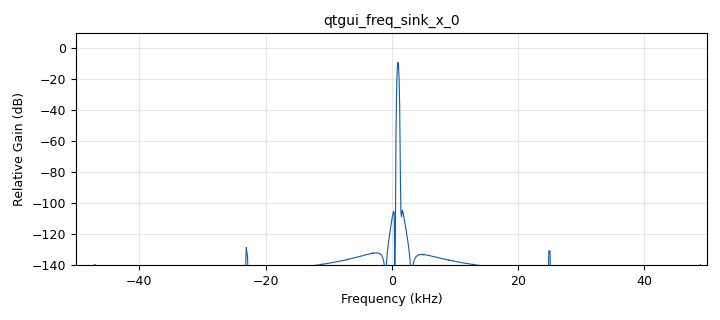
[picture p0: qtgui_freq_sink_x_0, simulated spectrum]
options:
  parameters:
    author: sten
    generate_options: qt_gui
    id: Labo_3
    output_language: python
    title: Aliasing & Oversampling
  states: {}

blocks:
- name: frequentie
  id: variable_qtgui_range
  parameters:
    start: 1e3
    step: 1e3
    stop: 300e3
    value: 1e3
  states: {}
- name: samp_rate
  id: variable
  parameters:
    value: '100000'
  states: {}
- name: analog_sig_source_x_0
  id: analog_sig_source_x
  parameters:
    amp: '1'
    freq: frequentie
    offset: '0'
    phase: '0'
    samp_rate: samp_rate
    type: complex
    waveform: analog.GR_COS_WAVE
  states: {}
- name: blocks_throttle_0
  id: blocks_throttle
  parameters:
    samples_per_second: samp_rate
    type: complex
  states: {}
- name: qtgui_freq_sink_x_0
  id: qtgui_freq_sink_x
  parameters:
    bw: samp_rate
    fc: '0'
    fftsize: '1024'
    freqhalf: 'False'
    type: complex
  states: {}

connections:
- [analog_sig_source_x_0, '0', blocks_throttle_0, '0']
- [blocks_throttle_0, '0', qtgui_freq_sink_x_0, '0']

metadata:
  file_format: 1
